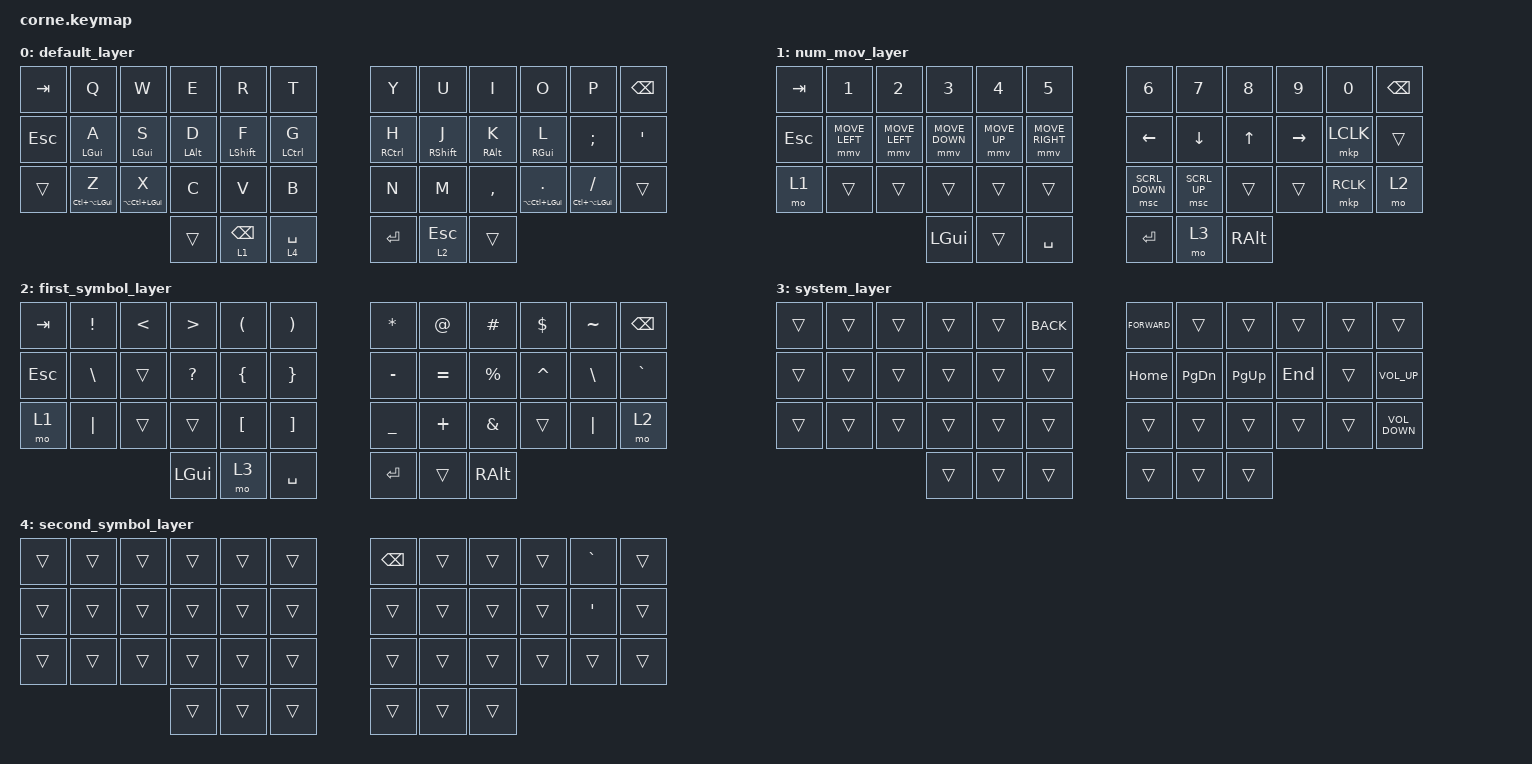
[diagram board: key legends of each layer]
/*
 * Copyright (c) 2020 The ZMK Contributors
 *
 * SPDX-License-Identifier: MIT
 */

#define ZMK_POINTING_DEFAULT_MOVE_VAL 1500  // default: 600
#define ZMK_POINTING_DEFAULT_SCRL_VAL 20    // default: 10

#include <behaviors.dtsi>
#include <dt-bindings/zmk/keys.h>
#include <dt-bindings/zmk/pointing.h>

/ {
    behaviors {
        hold_or_tap: hold_or_tap {
            compatible = "zmk,behavior-hold-tap";
            label = "HOLD_OR_TAP";
            bindings = <&kp>, <&kp>;

            #binding-cells = <2>;
            tapping-term-ms = <200>;
            flavor = "tap-preferred";
            retro-tap;
        };

        tap_or_hold_layer_prefer_hold: tap_or_hold_layer_prefer_hold {
            compatible = "zmk,behavior-hold-tap";
            label = "TAP_OR_HOLD_LAYER_PREFER_HOLD";
            bindings = <&mo>, <&kp>;

            #binding-cells = <2>;
            tapping-term-ms = <200>;
            flavor = "hold-preferred";
            retro-tap;
            hold-while-undecided;
        };

        tap_or_hold_layer_prefer_tap: tap_or_hold_layer_prefer_tap {
            compatible = "zmk,behavior-hold-tap";
            label = "TAP_OR_HOLD_LAYER_PREFER_TAP";
            bindings = <&mo>, <&kp>;

            #binding-cells = <2>;
            tapping-term-ms = <200>;
            flavor = "tap-preferred";
            retro-tap;
        };
    };

    keymap {
        compatible = "zmk,keymap";

        default_layer {
            // -----------------------------------------------------------------------------------------
            // |  TAB |  Q  |  W  |  E  |  R  |  T  |   |  Y  |  U   |  I  |  O  |  P  | BSPC |
            // | CTRL |  A  |  S  |  D  |  F  |  G  |   |  H  |  J   |  K  |  L  |  ;  |  '   |
            // | SHFT |  Z  |  X  |  C  |  V  |  B  |   |  N  |  M   |  ,  |  .  |  /  | ESC  |
            //                    | GUI | LWR | SPC |   | ENT | RSE  | ALT |

            bindings = <
&kp TAB     &kp Q                        &kp W                        &kp E                    &kp R                                       &kp T                                    &kp Y                         &kp U                                    &kp I                     &kp O                          &kp P                           &kp BSPC
&kp ESCAPE  &hold_or_tap LEFT_GUI A      &hold_or_tap LEFT_GUI S      &hold_or_tap LEFT_ALT D  &hold_or_tap LEFT_SHIFT F                   &hold_or_tap LEFT_CONTROL G              &hold_or_tap RIGHT_CONTROL H  &hold_or_tap RIGHT_SHIFT J               &hold_or_tap RIGHT_ALT K  &hold_or_tap RIGHT_GUI L       &kp SEMI                        &kp SQT
&trans      &hold_or_tap LC(LA(LGUI)) Z  &hold_or_tap LA(LC(LGUI)) X  &kp C                    &kp V                                       &kp B                                    &kp N                         &kp M                                    &kp COMMA                 &hold_or_tap LA(LC(LGUI)) DOT  &hold_or_tap LC(LA(LGUI)) FSLH  &trans
                                                                      &trans                   &tap_or_hold_layer_prefer_hold 1 BACKSPACE  &tap_or_hold_layer_prefer_tap 4 SPACE    &kp ENTER                     &tap_or_hold_layer_prefer_hold 2 ESCAPE  &trans
            >;
        };

        num_mov_layer {
            // -----------------------------------------------------------------------------------------
            // |  TAB |  1  |  2  |  3  |  4  |  5  |   |  6  |  7  |  8  |  9  |  0  | BSPC |
            // | BTCLR| BT1 | BT2 | BT3 | BT4 | BT5 |   | LFT | DWN |  UP | RGT |     |      |
            // | SHFT |     |     |     |     |     |   |     |     |     |     |     |      |
            //                    | GUI |     | SPC |   | ENT |     | ALT |

            bindings = <
&kp TAB     &kp N1          &kp N2          &kp N3          &kp N4        &kp N5             &kp N6          &kp N7        &kp N8    &kp N9     &kp N0     &kp BSPC
&kp ESCAPE  &mmv MOVE_LEFT  &mmv MOVE_LEFT  &mmv MOVE_DOWN  &mmv MOVE_UP  &mmv MOVE_RIGHT    &kp LEFT        &kp DOWN      &kp UP    &kp RIGHT  &mkp LCLK  &trans
&mo 1       &trans          &trans          &trans          &trans        &trans             &msc SCRL_DOWN  &msc SCRL_UP  &trans    &trans     &mkp RCLK  &mo 2
                                            &kp LGUI        &trans        &kp SPACE          &kp RET         &mo 3         &kp RALT
            >;
        };

        first_symbol_layer {
            // -----------------------------------------------------------------------------------------
            // |  TAB |  !  |  @  |  #  |  $  |  %  |   |  ^  |  &  |  *  |  (  |  )  | BSPC |
            // | CTRL |     |     |     |     |     |   |  -  |  =  |  [  |  ]  |  \  |  `   |
            // | SHFT |     |     |     |     |     |   |  _  |  +  |  {  |  }  | "|" |  ~   |
            //                    | GUI |     | SPC |   | ENT |     | ALT |

            bindings = <
&kp TAB     &kp EXCL       &kp LESS_THAN  &kp GREATER_THAN  &kp LEFT_PARENTHESIS  &kp RIGHT_PARENTHESIS    &kp ASTERISK  &kp AT_SIGN  &kp HASH       &kp DOLLAR  &kp TILDE  &kp BSPC
&kp ESCAPE  &kp BACKSLASH  &trans         &kp QUESTION      &kp LEFT_BRACE        &kp RIGHT_BRACE          &kp MINUS     &kp EQUAL    &kp PERCENT    &kp CARET   &kp BSLH   &kp GRAVE
&mo 1       &kp PIPE       &trans         &trans            &kp LEFT_BRACKET      &kp RIGHT_BRACKET        &kp UNDER     &kp PLUS     &kp AMPERSAND  &trans      &kp PIPE   &mo 2
                                          &kp LGUI          &mo 3                 &kp SPACE                &kp RET       &trans       &kp RALT
            >;
        };

        system_layer {
            bindings = <
&trans  &trans  &trans  &trans  &trans  &kp K_BACK    &kp K_FORWARD  &trans         &trans       &trans   &trans  &trans
&trans  &trans  &trans  &trans  &trans  &trans        &kp HOME       &kp PAGE_DOWN  &kp PAGE_UP  &kp END  &trans  &kp C_VOLUME_UP
&trans  &trans  &trans  &trans  &trans  &trans        &trans         &trans         &trans       &trans   &trans  &kp C_VOLUME_DOWN
                        &trans  &trans  &trans        &trans         &trans         &trans
            >;
        };

        second_symbol_layer {
            bindings = <
&trans  &trans  &trans  &trans  &trans  &trans    &kp BACKSPACE  &trans  &trans  &trans  &kp GRAVE  &trans
&trans  &trans  &trans  &trans  &trans  &trans    &trans         &trans  &trans  &trans  &kp SQT    &trans
&trans  &trans  &trans  &trans  &trans  &trans    &trans         &trans  &trans  &trans  &trans     &trans
                        &trans  &trans  &trans    &trans         &trans  &trans
            >;
        };
    };
};
